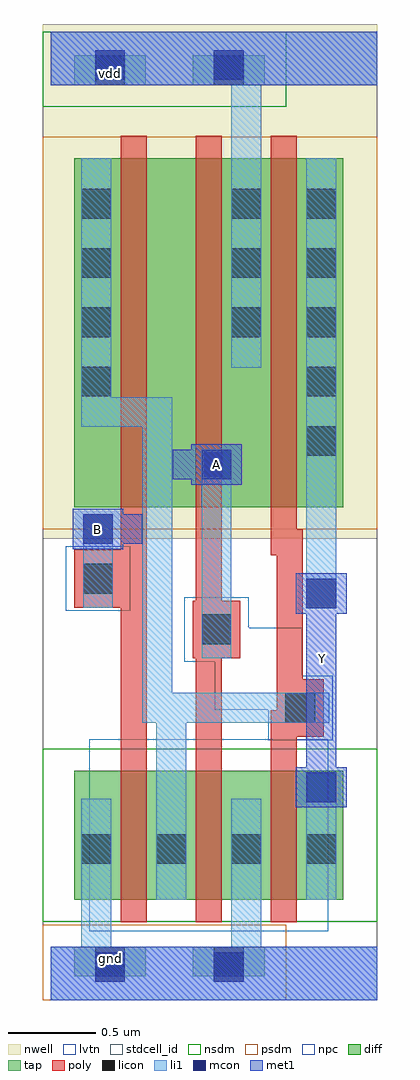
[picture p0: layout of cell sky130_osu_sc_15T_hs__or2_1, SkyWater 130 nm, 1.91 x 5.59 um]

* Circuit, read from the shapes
.subckt sky130_osu_sc_15T_hs__or2_1 A B Y gnd vdd
XM1 n1 B gnd gnd sky130_fd_pr__nfet_01v8_lvt w=0.74 l=0.15
XM2 gnd A n1 gnd sky130_fd_pr__nfet_01v8_lvt w=0.74 l=0.15
XM3 Y n1 gnd gnd sky130_fd_pr__nfet_01v8_lvt w=0.74 l=0.15
XM4 n2 B n1 vdd sky130_fd_pr__pfet_01v8 w=2 l=0.15
XM5 vdd A n2 vdd sky130_fd_pr__pfet_01v8 w=2 l=0.15
XM6 Y n1 vdd vdd sky130_fd_pr__pfet_01v8 w=2 l=0.15
.ends

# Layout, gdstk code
import gdstk
lib = gdstk.Library(unit=1e-6, precision=1e-09)
def R(c, l, rs):  # rectangles x0, y0, x1, y1
    for r in rs: c.add(gdstk.rectangle(r[:2], r[2:], *l))
def A(c, l, x, y, w, h, nx, ny, dx, dy):  # array of equal rectangles
    R(c, l, [(x+i*dx, y+j*dy, x+i*dx+w, y+j*dy+h) for i in range(nx) for j in range(ny)])
nwell = (64, 20)
diff = (65, 20)
tap = (65, 44)
poly = (66, 20)
licon = (66, 44)
li1 = (67, 20)
mcon = (67, 44)
met1 = (68, 20)
stdcell_id = (81, 4)
nsdm = (93, 44)
psdm = (94, 20)
npc = (95, 20)
lvtn = (125, 44)

sky130_osu_sc_15t_hs__or = lib.new_cell('sky130_osu_sc_15T_hs__or2_1')
R(sky130_osu_sc_15t_hs__or, nwell, [(-0.045,2.645,1.87,5.595)])
R(sky130_osu_sc_15t_hs__or, diff, [(0.135,0.575,1.675,1.315), (0.135,2.825,1.675,4.825)])
R(sky130_osu_sc_15t_hs__or, tap, [(0.135,0.135,0.545,0.305), (0.815,0.135,1.225,0.305), (0.135,5.245,0.545,5.415), (0.815,5.245,1.225,5.415)])
R(sky130_osu_sc_15t_hs__or, poly, [(0.4,0.445,0.55,2.25), (0.83,0.445,0.98,1.96), (1.26,0.445,1.41,1.51), (1.26,1.51,1.565,1.66), (1.295,1.66,1.565,1.84), (1.295,1.84,1.445,2.55), (0.815,1.96,1.085,2.29), (0.135,2.25,0.55,2.58), (0.83,2.29,0.98,4.955), (1.26,2.55,1.445,2.7), (0.4,2.58,0.55,4.955), (1.26,2.7,1.41,4.955)])
A(sky130_osu_sc_15t_hs__or, licon, 0.175, 0.78, 0.17, 0.17, 4, 1, 0.43, 0)
A(sky130_osu_sc_15t_hs__or, licon, 1.465, 3.12, 0.17, 0.17, 1, 5, 0, 0.34)
A(sky130_osu_sc_15t_hs__or, licon, 0.175, 3.46, 0.17, 0.17, 1, 4, 0, 0.34)
A(sky130_osu_sc_15t_hs__or, licon, 1.035, 3.8, 0.17, 0.17, 1, 3, 0, 0.34)
R(sky130_osu_sc_15t_hs__or, licon, [(0.255,0.135,0.425,0.305), (0.935,0.135,1.105,0.305), (1.345,1.59,1.515,1.76), (0.865,2.04,1.035,2.21), (0.185,2.33,0.355,2.5), (0.255,5.245,0.425,5.415), (0.935,5.245,1.105,5.415)])
R(sky130_osu_sc_15t_hs__or, li1, [(0,0,1.87,0.305), (0.175,0.305,0.345,1.155), (1.035,0.305,1.205,1.155), (0.605,0.575,0.775,1.59), (1.465,0.575,1.635,1.305), (0.525,1.59,1.595,1.76), (0.525,1.76,0.695,3.285), (0.865,1.96,1.035,3.155), (1.465,2.245,1.635,4.825), (0.185,2.25,0.355,2.785), (0.175,3.285,0.695,3.455), (0.175,3.455,0.345,4.825), (1.035,3.625,1.205,5.245), (0,5.245,1.87,5.55)])
R(sky130_osu_sc_15t_hs__or, mcon, [(0.255,0.105,0.425,0.275), (0.935,0.105,1.105,0.275), (1.465,1.135,1.635,1.305), (1.465,2.245,1.635,2.415), (0.185,2.615,0.355,2.785), (0.865,2.985,1.035,3.155), (0.255,5.275,0.425,5.445), (0.935,5.275,1.105,5.445)])
R(sky130_osu_sc_15t_hs__or, met1, [(0,0,1.87,0.305), (1.405,1.105,1.695,1.335), (1.465,1.335,1.635,2.215), (1.405,2.215,1.695,2.445), (0.125,2.585,0.415,2.615), (0.125,2.615,0.525,2.785), (0.125,2.785,0.415,2.815), (0.805,2.955,1.095,2.985), (0.7,2.985,1.095,3.155), (0.805,3.155,1.095,3.185), (0,5.245,1.87,5.55)])
R(sky130_osu_sc_15t_hs__or, stdcell_id, [(-0.045,0,1.87,5.55)])
R(sky130_osu_sc_15t_hs__or, nsdm, [(-0.045,0.45,1.87,1.44), (-0.045,5.12,1.35,5.55)])
R(sky130_osu_sc_15t_hs__or, psdm, [(-0.045,0,1.35,0.43), (-0.045,2.7,1.87,4.95)])
R(sky130_osu_sc_15t_hs__or, npc, [(1.245,1.49,1.615,1.665), (0.94,1.665,1.615,1.86), (0.94,1.86,1.44,1.94), (0.765,1.94,1.44,2.135), (0.765,2.135,1.135,2.31), (0.085,2.23,0.455,2.6)])
R(sky130_osu_sc_15t_hs__or, lvtn, [(0.22,0.395,1.59,1.495)])
sky130_osu_sc_15t_hs__or.add(gdstk.Label('gnd', (0.34,0.24), layer=68, texttype=16))
sky130_osu_sc_15t_hs__or.add(gdstk.Label('vdd', (0.34,5.31), layer=68, texttype=16))
sky130_osu_sc_15t_hs__or.add(gdstk.Label('Y', (1.555,1.96), layer=68, texttype=5))
sky130_osu_sc_15t_hs__or.add(gdstk.Label('A', (0.95,3.07), layer=68, texttype=5))
sky130_osu_sc_15t_hs__or.add(gdstk.Label('B', (0.27,2.7), layer=68, texttype=5))

lib.write_gds('sky130_osu_sc_15T_hs__or2_1.gds')
